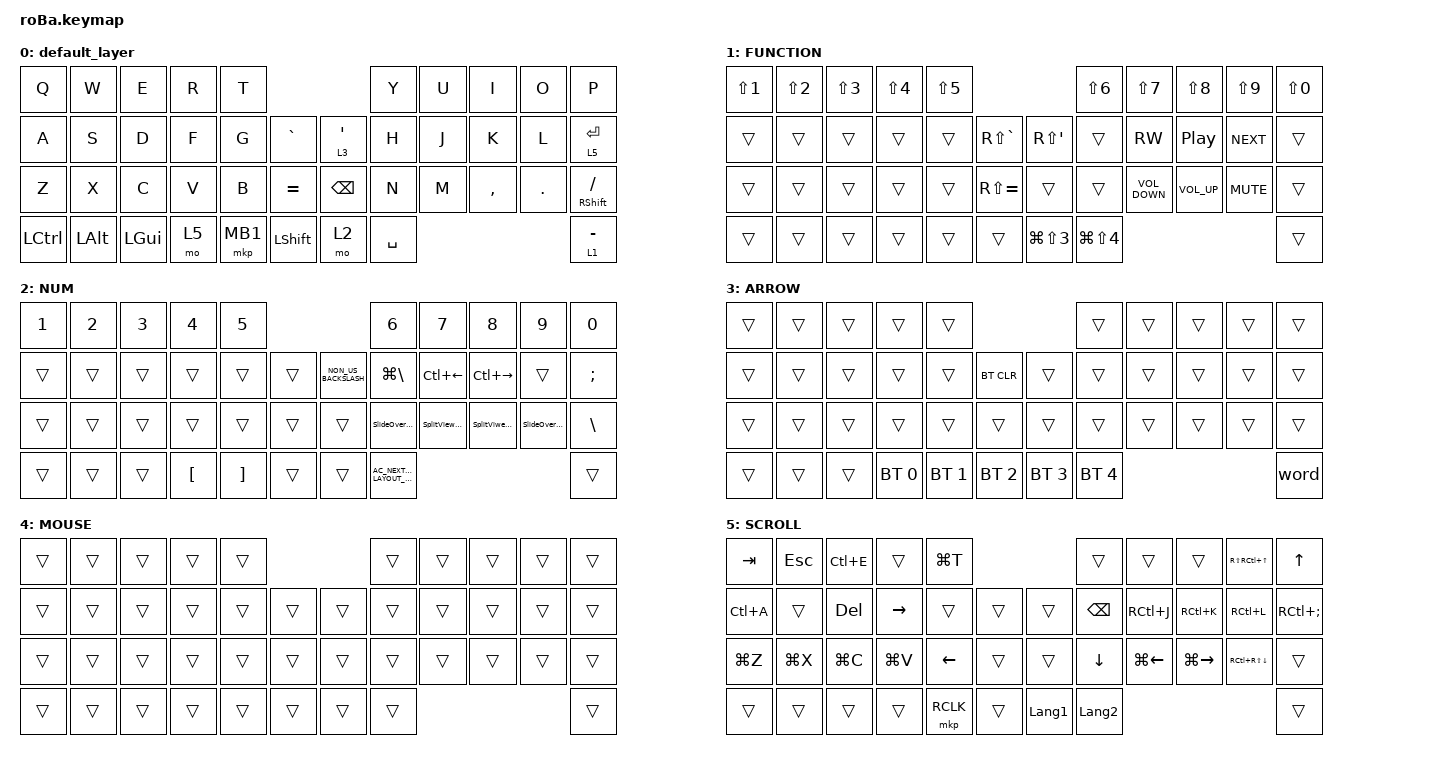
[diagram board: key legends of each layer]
#include <behaviors.dtsi>
#include <dt-bindings/zmk/bt.h>
#include <dt-bindings/zmk/keys.h>
#include <dt-bindings/zmk/pointing.h>

&mt {
    flavor = "balanced";
    quick-tap-ms = <0>;
};

&trackball {
    automouse-layer = <4>;
    scroll-layers = <5>;

    // arrows {
    //     layers = <3>;
    //     bindings =
    //         <&kp RIGHT_ARROW>,
    //         <&kp LEFT_ARROW>,
    //         <&kp UP_ARROW>,
    //         <&kp DOWN_ARROW>;
    //     tick = <10>;
    //     wait-ms = <5>;
    //     tap-ms = <5>;
    // };
};

/ {
    combos { compatible = "zmk,combos"; };

    macros {
        word: pass {
            compatible = "zmk,behavior-macro";
            #binding-cells = <0>;
            bindings = <&kp O &kp R &kp A &kp O &kp R &kp A &kp O &kp R &kp A &kp O &kp R &kp A &kp NUMBER_4 &kp ENTER>;
            label = "PASS";
        };

        SplitViewLeft: new_macro {
            compatible = "zmk,behavior-macro";
            #binding-cells = <0>;
            bindings = <&kt LC(GLOBE) &kp LEFT_ARROW &kt LC(GLOBE)>;
            label = "NEW_MACRO";
        };

        SplitViweRight: SplitViweRight {
            compatible = "zmk,behavior-macro";
            #binding-cells = <0>;
            bindings = <&kt LC(GLOBE) &kp RIGHT &kt LC(GLOBE)>;
            label = "SPLITVIWERIGHT";
        };

        SplitViweCansel: SplitViweCansel {
            compatible = "zmk,behavior-macro";
            #binding-cells = <0>;
            bindings = <&kt LC(GLOBE) &kp UP_ARROW &kt LC(GLOBE)>;
            label = "SPLITVIWECANSEL";
        };

        SlideOverON: SlideOverON {
            compatible = "zmk,behavior-macro";
            #binding-cells = <0>;
            bindings = <&kt LC(GLOBE) &kp DOWN &kt LC(GLOBE)>;
            label = "SLIDEOVERON";
        };

        SlideOverOFF: SlideOverOFF {
            compatible = "zmk,behavior-macro";
            #binding-cells = <0>;
            bindings = <&kt GLOBE &kp BACKSLASH &kt GLOBE>;
            label = "SLIDEOVEROFF";
        };
    };

    keymap {
        compatible = "zmk,keymap";

        default_layer {
            bindings = <
&kp Q      &kp W         &kp E         &kp R  &kp T                                       &kp Y      &kp U  &kp I      &kp O    &kp P
&kp A      &kp S         &kp D         &kp F  &kp G     &kp GRAVE       &lt 3 APOSTROPHE  &kp H      &kp J  &kp K      &kp L    &lt 5 ENTER
&kp Z      &kp X         &kp C         &kp V  &kp B     &kp EQUAL       &kp BACKSPACE     &kp N      &kp M  &kp COMMA  &kp DOT  &mt RSHIFT SLASH
&kp LCTRL  &kp LEFT_ALT  &kp LEFT_GUI  &mo 5  &mkp MB1  &kp LSHIFT      &mo 2             &kp SPACE                             &lt 1 MINUS
            >;
        };

        FUNCTION {
            bindings = <
&kp LS(NUMBER_1)  &kp LS(NUMBER_2)  &kp LS(NUMBER_3)  &kp LS(NUMBER_4)  &kp LS(N5)                                           &kp LS(NUMBER_6)      &kp LS(N7)         &kp LS(N8)    &kp LS(N9)  &kp LS(N0)
&trans            &trans            &trans            &trans            &trans      &kp RS(GRAVE)      &kp RS(SQT)           &trans                &kp C_RW           &kp C_PP      &kp C_NEXT  &trans
&trans            &trans            &trans            &trans            &trans      &kp RS(EQUAL)      &trans                &trans                &kp C_VOLUME_DOWN  &kp C_VOL_UP  &kp C_MUTE  &trans
&trans            &trans            &trans            &trans            &trans      &trans             &kp LG(LS(NUMBER_3))  &kp LG(LS(NUMBER_4))                                               &trans
            >;
        };

        NUM {
            bindings = <
&kp NUMBER_1  &kp NUMBER_2  &kp NUMBER_3  &kp NUMBER_4      &kp N5                                               &kp NUMBER_6                          &kp N7          &kp N8           &kp N9         &kp N0
&trans        &trans        &trans        &trans            &trans             &trans      &kp NON_US_BACKSLASH  &kp LG(BACKSLASH)                     &kp LC(LEFT)    &kp LC(RIGHT)    &trans         &kp SEMICOLON
&trans        &trans        &trans        &trans            &trans             &trans      &trans                &SlideOverON                          &SplitViewLeft  &SplitViweRight  &SlideOverOFF  &kp BACKSLASH
&trans        &trans        &trans        &kp LEFT_BRACKET  &kp RIGHT_BRACKET  &trans      &trans                &kp C_AC_NEXT_KEYBOARD_LAYOUT_SELECT                                                  &trans
            >;
        };

        ARROW {
            bindings = <
&trans  &trans  &trans  &trans        &trans                                        &trans        &trans  &trans  &trans  &trans
&trans  &trans  &trans  &trans        &trans        &bt BT_CLR        &trans        &trans        &trans  &trans  &trans  &trans
&trans  &trans  &trans  &trans        &trans        &trans            &trans        &trans        &trans  &trans  &trans  &trans
&trans  &trans  &trans  &bt BT_SEL 0  &bt BT_SEL 1  &bt BT_SEL 2      &bt BT_SEL 3  &bt BT_SEL 4                          &word
            >;
        };

        MOUSE {
            bindings = <
&trans  &trans  &trans  &trans  &trans                      &trans  &trans  &trans  &trans  &trans
&trans  &trans  &trans  &trans  &trans  &trans      &trans  &trans  &trans  &trans  &trans  &trans
&trans  &trans  &trans  &trans  &trans  &trans      &trans  &trans  &trans  &trans  &trans  &trans
&trans  &trans  &trans  &trans  &trans  &trans      &trans  &trans                          &trans
            >;
        };

        SCROLL {
            bindings = <
&kp TAB    &kp ESCAPE  &kp LC(E)   &trans     &kp LG(T)                              &trans          &trans              &trans         &kp RS(RC(UP_ARROW))    &kp UP_ARROW
&kp LC(A)  &trans      &kp DELETE  &kp RIGHT  &trans     &trans      &trans          &kp BACKSPACE   &kp RC(J)           &kp RC(K)      &kp RC(L)               &kp RC(SEMICOLON)
&kp LG(Z)  &kp LG(X)   &kp LG(C)   &kp LG(V)  &kp LEFT   &trans      &trans          &kp DOWN        &kp LG(LEFT_ARROW)  &kp LG(RIGHT)  &kp RC(RS(DOWN_ARROW))  &trans
&trans     &trans      &trans      &trans     &mkp RCLK  &trans      &kp LANGUAGE_1  &kp LANGUAGE_2                                                             &trans
            >;
        };
    };

    conditional_layers { compatible = "zmk,conditional-layers"; };
};
